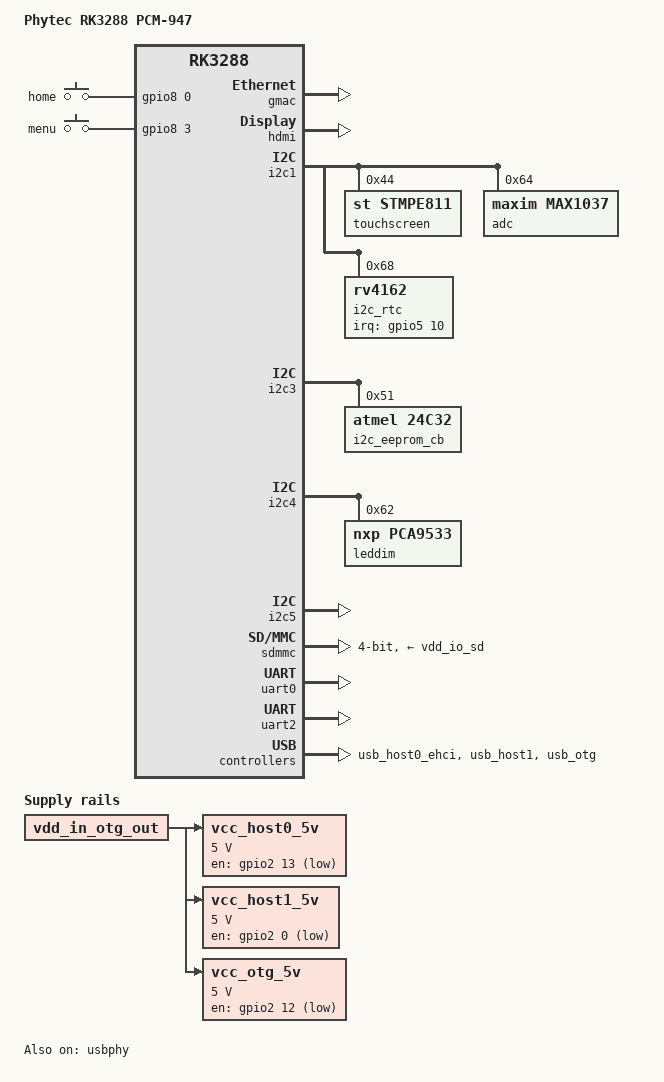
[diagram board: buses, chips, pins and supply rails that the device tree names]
/*
 * Device tree file for Phytec PCM-947 carrier board
 * Copyright (C) 2017 PHYTEC Messtechnik GmbH
 * Author: Wadim Egorov <w.egorov@phytec.de>
 *
 * This file is dual-licensed: you can use it either under the terms
 * of the GPL or the X11 license, at your option. Note that this dual
 * licensing only applies to this file, and not this project as a
 * whole.
 *
 *  a) This file is free software; you can redistribute it and/or
 *     modify it under the terms of the GNU General Public License as
 *     published by the Free Software Foundation; either version 2 of the
 *     License, or (at your option) any later version.
 *
 *     This file is distributed in the hope that it will be useful,
 *     but WITHOUT ANY WARRANTY; without even the implied warranty of
 *     MERCHANTABILITY or FITNESS FOR A PARTICULAR PURPOSE.  See the
 *     GNU General Public License for more details.
 *
 * Or, alternatively,
 *
 *  b) Permission is hereby granted, free of charge, to any person
 *     obtaining a copy of this software and associated documentation
 *     files (the "Software"), to deal in the Software without
 *     restriction, including without limitation the rights to use,
 *     copy, modify, merge, publish, distribute, sublicense, and/or
 *     sell copies of the Software, and to permit persons to whom the
 *     Software is furnished to do so, subject to the following
 *     conditions:
 *
 *     The above copyright notice and this permission notice shall be
 *     included in all copies or substantial portions of the Software.
 *
 *     THE SOFTWARE IS PROVIDED "AS IS", WITHOUT WARRANTY OF ANY KIND,
 *     EXPRESS OR IMPLIED, INCLUDING BUT NOT LIMITED TO THE WARRANTIES
 *     OF MERCHANTABILITY, FITNESS FOR A PARTICULAR PURPOSE AND
 *     NONINFRINGEMENT. IN NO EVENT SHALL THE AUTHORS OR COPYRIGHT
 *     HOLDERS BE LIABLE FOR ANY CLAIM, DAMAGES OR OTHER LIABILITY,
 *     WHETHER IN AN ACTION OF CONTRACT, TORT OR OTHERWISE, ARISING
 *     FROM, OUT OF OR IN CONNECTION WITH THE SOFTWARE OR THE USE OR
 *     OTHER DEALINGS IN THE SOFTWARE.
 */

/dts-v1/;

#include <dt-bindings/input/input.h>
#include <dt-bindings/leds/leds-pca9532.h>
#include "rk3288-phycore-som.dtsi"

/ {
	model = "Phytec RK3288 PCM-947";
	compatible = "phytec,rk3288-pcm-947", "phytec,rk3288-phycore-som", "rockchip,rk3288";

	user_buttons: user-buttons {
		compatible = "gpio-keys";
		pinctrl-names = "default";
		pinctrl-0 = <&user_button_pins>;

		button@0 {
			label = "home";
			linux,code = <KEY_HOME>;
			gpios = <&gpio8 0 GPIO_ACTIVE_HIGH>;
			wakeup-source;
		};

		button@1 {
			label = "menu";
			linux,code = <KEY_MENU>;
			gpios = <&gpio8 3 GPIO_ACTIVE_HIGH>;
			wakeup-source;
		};
	};

	vcc_host0_5v: usb-host0-regulator {
		compatible = "regulator-fixed";
		gpio = <&gpio2 13 GPIO_ACTIVE_HIGH>;
		pinctrl-names = "default";
		pinctrl-0 = <&host0_vbus_drv>;
		regulator-name = "vcc_host0_5v";
		regulator-min-microvolt = <5000000>;
		regulator-max-microvolt = <5000000>;
		regulator-always-on;
		vin-supply = <&vdd_in_otg_out>;
	};

	vcc_host1_5v: usb-host1-regulator {
		compatible = "regulator-fixed";
		gpio = <&gpio2 0 GPIO_ACTIVE_HIGH>;
		pinctrl-names = "default";
		pinctrl-0 = <&host1_vbus_drv>;
		regulator-name = "vcc_host1_5v";
		regulator-min-microvolt = <5000000>;
		regulator-max-microvolt = <5000000>;
		regulator-always-on;
		vin-supply = <&vdd_in_otg_out>;
	};

	vcc_otg_5v: usb-otg-regulator {
		compatible = "regulator-fixed";
		gpio = <&gpio2 12 GPIO_ACTIVE_HIGH>;
		pinctrl-names = "default";
		pinctrl-0 = <&otg_vbus_drv>;
		regulator-name = "vcc_otg_5v";
		regulator-min-microvolt = <5000000>;
		regulator-max-microvolt = <5000000>;
		regulator-always-on;
		vin-supply = <&vdd_in_otg_out>;
	};
};

&gmac {
	status = "okay";
};

&hdmi {
	status = "okay";
};

&i2c1 {
	status = "okay";

	touchscreen@44 {
		compatible = "st,stmpe811";
		reg = <0x44>;
	};

	adc@64 {
		compatible = "maxim,max1037";
		reg = <0x64>;
	};

	i2c_rtc: rtc@68 {
		compatible = "rv4162";
		reg = <0x68>;
		pinctrl-names = "default";
		pinctrl-0 = <&i2c_rtc_int>;
		interrupt-parent = <&gpio5>;
		interrupts = <10 0>;
	};
};

&i2c3 {
	status = "okay";

	i2c_eeprom_cb: eeprom@51 {
		compatible = "atmel,24c32";
		reg = <0x51>;
		pagesize = <32>;
	};
};

&i2c4 {
	status = "okay";

	/* PCA9533 - 4-bit LED dimmer */
	leddim: leddimmer@62 {
		compatible = "nxp,pca9533";
		reg = <0x62>;

		led1 {
			label = "red:user1";
			linux,default-trigger = "none";
			type = <PCA9532_TYPE_LED>;
		};

		led2 {
			label = "green:user2";
			linux,default-trigger = "none";
			type = <PCA9532_TYPE_LED>;
		};

		led3 {
			label = "blue:user3";
			linux,default-trigger = "none";
			type = <PCA9532_TYPE_LED>;
		};

		led4 {
			label = "red:user4";
			linux,default-trigger = "none";
			type = <PCA9532_TYPE_LED>;
		};
	};
};

&i2c5 {
	status = "okay";
};

&pinctrl {
	pcfg_pull_up_drv_12ma: pcfg-pull-up-drv-12ma {
		bias-pull-up;
		drive-strength = <12>;
	};

	buttons {
		user_button_pins: user-button-pins {
			/* button 1 */
			rockchip,pins = <8 3 RK_FUNC_GPIO &pcfg_pull_up>,
			/* button 2 */
					<8 0 RK_FUNC_GPIO &pcfg_pull_up>;
		};
	};

	rv4162 {
		i2c_rtc_int: i2c-rtc-int {
			rockchip,pins = <5 10 RK_FUNC_GPIO &pcfg_pull_up>;
		};
	};

	sdmmc {
		/*
		 * Default drive strength isn't enough to achieve even
		 * high-speed mode on pcm-947 board so bump up to 12 mA.
		 */
		sdmmc_bus4: sdmmc-bus4 {
			rockchip,pins = <6 16 RK_FUNC_1 &pcfg_pull_up_drv_12ma>,
					<6 17 RK_FUNC_1 &pcfg_pull_up_drv_12ma>,
					<6 18 RK_FUNC_1 &pcfg_pull_up_drv_12ma>,
					<6 19 RK_FUNC_1 &pcfg_pull_up_drv_12ma>;
		};

		sdmmc_clk: sdmmc-clk {
			rockchip,pins = <6 20 RK_FUNC_1 &pcfg_pull_none_12ma>;
		};

		sdmmc_cmd: sdmmc-cmd {
			rockchip,pins = <6 21 RK_FUNC_1 &pcfg_pull_up_drv_12ma>;
		};

		sdmmc_pwr: sdmmc-pwr {
			rockchip,pins = <7 11 RK_FUNC_GPIO &pcfg_pull_none>;
		};
	};

	touchscreen {
		ts_irq_pin: ts-irq-pin {
			rockchip,pins = <5 15 RK_FUNC_GPIO &pcfg_pull_none>;
		};
	};

	usb_host {
		host0_vbus_drv: host0-vbus-drv {
			rockchip,pins = <2 13 RK_FUNC_GPIO &pcfg_pull_none>;
		};

		host1_vbus_drv: host1-vbus-drv {
			rockchip,pins = <2 0 RK_FUNC_GPIO &pcfg_pull_none>;
		};
	};

	usb_otg {
		otg_vbus_drv: otg-vbus-drv {
			rockchip,pins = <2 12 RK_FUNC_GPIO &pcfg_pull_none>;
		};
	};
};

&sdmmc {
	bus-width = <4>;
	cap-mmc-highspeed;
	cap-sd-highspeed;
	card-detect-delay = <200>;
	disable-wp;
	supports-sd;
	num-slots = <1>;
	pinctrl-names = "default";
	pinctrl-0 = <&sdmmc_clk &sdmmc_cmd &sdmmc_cd &sdmmc_bus4>;
	vmmc-supply = <&vdd_io_sd>;
	vqmmc-supply = <&vdd_io_sd>;
	status = "okay";
};

&uart0 {
	pinctrl-names = "default";
	pinctrl-0 = <&uart0_xfer &uart0_cts &uart0_rts>;
	status = "okay";
};

&uart2 {
	status = "okay";
};

&usbphy {
	status = "okay";
};

&usb_host0_ehci {
	status = "okay";
};

&usb_host1 {
	status = "okay";
};

&usb_otg {
	status = "okay";
};
